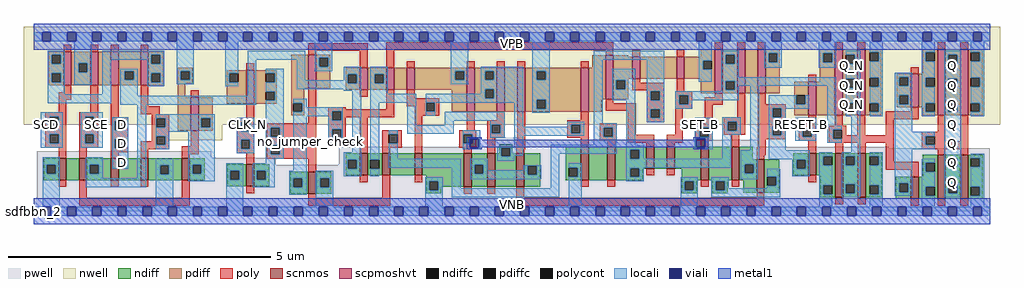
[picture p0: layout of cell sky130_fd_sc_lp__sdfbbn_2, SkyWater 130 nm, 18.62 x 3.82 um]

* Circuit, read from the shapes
.subckt sky130_fd_sc_lp__sdfbbn_2 CLK_N D RESET_B SCD SCE SET_B VGND VNB VPB VPWR Q Q_N
XM1 n1 SCD VGND VNB sky130_fd_pr__nfet_01v8 w=0.42 l=0.15
XM2 n2 SCE n1 VNB sky130_fd_pr__nfet_01v8 w=0.42 l=0.15
XM3 n3 D n2 VNB sky130_fd_pr__nfet_01v8 w=0.42 l=0.15
XM4 VGND n4 n3 VNB sky130_fd_pr__nfet_01v8 w=0.42 l=0.15
XM5 n4 SCE VGND VNB sky130_fd_pr__nfet_01v8 w=0.42 l=0.15
XM6 n5 CLK_N VGND VNB sky130_fd_pr__nfet_01v8 w=0.42 l=0.15
XM7 VGND n5 n6 VNB sky130_fd_pr__nfet_01v8 w=0.42 l=0.15
XM8 n7 n6 n2 VNB sky130_fd_pr__nfet_01v8 w=0.42 l=0.15
XM9 n8 n5 n7 VNB sky130_fd_pr__nfet_01v8 w=0.42 l=0.15
XM10 VGND n9 n8 VNB sky130_fd_pr__nfet_01v8 w=0.42 l=0.15
XM11 n10 SET_B VGND VNB sky130_fd_pr__nfet_01v8 w=0.64 l=0.15
XM12 n9 n7 n10 VNB sky130_fd_pr__nfet_01v8 w=0.64 l=0.15
XM13 n10 n11 n9 VNB sky130_fd_pr__nfet_01v8 w=0.64 l=0.15
XM14 n12 n9 VGND VNB sky130_fd_pr__nfet_01v8 w=0.64 l=0.15
XM15 n13 n5 n12 VNB sky130_fd_pr__nfet_01v8 w=0.64 l=0.15
XM16 n14 n6 n13 VNB sky130_fd_pr__nfet_01v8 w=0.42 l=0.15
XM17 VGND n15 n14 VNB sky130_fd_pr__nfet_01v8 w=0.42 l=0.15
XM18 n16 SET_B VGND VNB sky130_fd_pr__nfet_01v8 w=0.64 l=0.15
XM19 n15 n13 n16 VNB sky130_fd_pr__nfet_01v8 w=0.64 l=0.15
XM20 n16 n11 n15 VNB sky130_fd_pr__nfet_01v8 w=0.64 l=0.15
XM21 VGND RESET_B n11 VNB sky130_fd_pr__nfet_01v8 w=0.42 l=0.15
XM22 Q_N n15 VGND VNB sky130_fd_pr__nfet_01v8 w=0.84 l=0.15 m=2
XM23 VGND n15 n17 VNB sky130_fd_pr__nfet_01v8 w=0.42 l=0.15
XM24 Q n17 VGND VNB sky130_fd_pr__nfet_01v8 w=0.84 l=0.15 m=2
XM25 VPWR SCD n18 VPB sky130_fd_pr__pfet_01v8_hvt w=0.64 l=0.15
XM26 n19 SCE VPWR VPB sky130_fd_pr__pfet_01v8_hvt w=0.64 l=0.15
XM27 n2 D n19 VPB sky130_fd_pr__pfet_01v8_hvt w=0.64 l=0.15
XM28 n18 n4 n2 VPB sky130_fd_pr__pfet_01v8_hvt w=0.64 l=0.15
XM29 n4 SCE VPWR VPB sky130_fd_pr__pfet_01v8_hvt w=0.64 l=0.15
XM30 n5 CLK_N VPWR VPB sky130_fd_pr__pfet_01v8_hvt w=0.64 l=0.15
XM31 VPWR n5 n6 VPB sky130_fd_pr__pfet_01v8_hvt w=0.64 l=0.15
XM32 n7 n5 n2 VPB sky130_fd_pr__pfet_01v8_hvt w=0.42 l=0.15
XM33 n20 n6 n7 VPB sky130_fd_pr__pfet_01v8_hvt w=0.42 l=0.15
XM34 VPWR n9 n20 VPB sky130_fd_pr__pfet_01v8_hvt w=0.42 l=0.15
XM35 n9 SET_B VPWR VPB sky130_fd_pr__pfet_01v8_hvt w=0.84 l=0.15
XM36 n21 n7 n9 VPB sky130_fd_pr__pfet_01v8_hvt w=0.84 l=0.15
XM37 VPWR n11 n21 VPB sky130_fd_pr__pfet_01v8_hvt w=0.84 l=0.15
XM38 n22 n9 VPWR VPB sky130_fd_pr__pfet_01v8_hvt w=0.84 l=0.15
XM39 n13 n6 n22 VPB sky130_fd_pr__pfet_01v8_hvt w=0.84 l=0.15
XM40 n23 n5 n13 VPB sky130_fd_pr__pfet_01v8_hvt w=0.42 l=0.15
XM41 VPWR n15 n23 VPB sky130_fd_pr__pfet_01v8_hvt w=0.42 l=0.15
XM42 n15 SET_B VPWR VPB sky130_fd_pr__pfet_01v8_hvt w=0.84 l=0.15
XM43 n24 n13 n15 VPB sky130_fd_pr__pfet_01v8_hvt w=0.84 l=0.15
XM44 VPWR n11 n24 VPB sky130_fd_pr__pfet_01v8_hvt w=0.84 l=0.15
XM45 VPWR RESET_B n11 VPB sky130_fd_pr__pfet_01v8_hvt w=0.64 l=0.15
XM46 Q_N n15 VPWR VPB sky130_fd_pr__pfet_01v8_hvt w=1.26 l=0.15 m=2
XM47 VPWR n15 n17 VPB sky130_fd_pr__pfet_01v8_hvt w=0.64 l=0.15
XM48 Q n17 VPWR VPB sky130_fd_pr__pfet_01v8_hvt w=1.26 l=0.15 m=2
.ends

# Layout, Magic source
magic
tech sky130A
magscale 1 2
<< nwell >>
rect -38 331 3686 704
rect 512 271 718 331
<< pwell >>
rect 1749 273 1851 281
rect 1749 247 2768 273
rect 1163 241 3261 247
rect 11 205 677 229
rect 11 177 923 205
rect 1163 177 3647 241
rect 11 49 3647 177
rect 0 0 3648 49
<< scnmos >>
rect 94 119 124 203
rect 172 119 202 203
rect 293 119 323 203
rect 407 119 437 203
rect 564 119 594 203
rect 810 95 840 179
rect 1047 67 1077 151
rect 1243 137 1273 221
rect 1329 137 1359 221
rect 1452 137 1482 221
rect 1640 93 1670 221
rect 1730 93 1760 221
rect 1840 93 1870 221
rect 2086 119 2116 247
rect 2188 119 2218 247
rect 2337 163 2367 247
rect 2415 163 2445 247
rect 2544 119 2574 247
rect 2662 119 2692 247
rect 2757 71 2787 199
rect 2955 137 2985 221
rect 3057 53 3087 221
rect 3143 53 3173 221
rect 3346 47 3376 131
rect 3448 47 3478 215
rect 3534 47 3564 215
<< scpmoshvt >>
rect 113 481 143 609
rect 215 481 245 609
rect 293 481 323 609
rect 407 481 437 609
rect 598 307 628 435
rect 810 411 840 539
rect 1047 469 1077 597
rect 1243 463 1273 547
rect 1345 463 1375 547
rect 1423 463 1453 547
rect 1652 379 1682 547
rect 1766 379 1796 547
rect 1844 379 1874 547
rect 2086 379 2116 547
rect 2181 428 2211 596
rect 2283 506 2313 590
rect 2452 506 2482 590
rect 2598 451 2628 619
rect 2684 451 2714 619
rect 2762 451 2792 619
rect 2954 367 2984 495
rect 3056 367 3086 619
rect 3142 367 3172 619
rect 3346 396 3376 524
rect 3448 367 3478 619
rect 3534 367 3564 619
<< ndiff >>
rect 37 178 94 203
rect 37 144 49 178
rect 83 144 94 178
rect 37 119 94 144
rect 124 119 172 203
rect 202 178 293 203
rect 202 144 213 178
rect 247 144 293 178
rect 202 119 293 144
rect 323 119 407 203
rect 437 175 564 203
rect 437 141 481 175
rect 515 141 564 175
rect 437 119 564 141
rect 594 178 651 203
rect 1775 243 1825 255
rect 1775 221 1783 243
rect 594 144 605 178
rect 639 144 651 178
rect 594 119 651 144
rect 737 154 810 179
rect 737 120 749 154
rect 783 120 810 154
rect 737 95 810 120
rect 840 154 897 179
rect 840 120 851 154
rect 885 120 897 154
rect 1189 196 1243 221
rect 1189 162 1198 196
rect 1232 162 1243 196
rect 840 95 897 120
rect 978 126 1047 151
rect 978 92 990 126
rect 1024 92 1047 126
rect 978 67 1047 92
rect 1077 126 1135 151
rect 1189 137 1243 162
rect 1273 196 1329 221
rect 1273 162 1284 196
rect 1318 162 1329 196
rect 1273 137 1329 162
rect 1359 137 1452 221
rect 1482 137 1640 221
rect 1077 92 1092 126
rect 1126 92 1135 126
rect 1077 67 1135 92
rect 1497 114 1640 137
rect 1497 80 1509 114
rect 1543 93 1640 114
rect 1670 178 1730 221
rect 1670 144 1681 178
rect 1715 144 1730 178
rect 1670 93 1730 144
rect 1760 209 1783 221
rect 1817 221 1825 243
rect 1817 209 1840 221
rect 1760 93 1840 209
rect 1870 174 1931 221
rect 1870 140 1885 174
rect 1919 140 1931 174
rect 1870 93 1931 140
rect 2029 166 2086 247
rect 2029 132 2041 166
rect 2075 132 2086 166
rect 2029 119 2086 132
rect 2116 119 2188 247
rect 2218 235 2337 247
rect 2218 201 2276 235
rect 2310 201 2337 235
rect 2218 165 2337 201
rect 2218 131 2276 165
rect 2310 163 2337 165
rect 2367 163 2415 247
rect 2445 163 2544 247
rect 2310 131 2322 163
rect 2218 119 2322 131
rect 2471 119 2544 163
rect 2574 119 2662 247
rect 2692 199 2742 247
rect 2692 180 2757 199
rect 2692 146 2712 180
rect 2746 146 2757 180
rect 2692 119 2757 146
rect 2471 114 2529 119
rect 1543 80 1555 93
rect 1497 68 1555 80
rect 2471 80 2483 114
rect 2517 80 2529 114
rect 2589 114 2647 119
rect 2471 68 2529 80
rect 2589 80 2601 114
rect 2635 80 2647 114
rect 2589 68 2647 80
rect 2707 71 2757 119
rect 2787 132 2844 199
rect 2898 196 2955 221
rect 2898 162 2910 196
rect 2944 162 2955 196
rect 2898 137 2955 162
rect 2985 209 3057 221
rect 2985 175 3012 209
rect 3046 175 3057 209
rect 2985 137 3057 175
rect 2787 98 2798 132
rect 2832 98 2844 132
rect 2787 71 2844 98
rect 3000 99 3057 137
rect 3000 65 3012 99
rect 3046 65 3057 99
rect 3000 53 3057 65
rect 3087 209 3143 221
rect 3087 175 3098 209
rect 3132 175 3143 209
rect 3087 103 3143 175
rect 3087 69 3098 103
rect 3132 69 3143 103
rect 3087 53 3143 69
rect 3173 209 3235 221
rect 3173 175 3189 209
rect 3223 175 3235 209
rect 3173 99 3235 175
rect 3391 185 3448 215
rect 3391 151 3403 185
rect 3437 151 3448 185
rect 3391 131 3448 151
rect 3173 65 3189 99
rect 3223 65 3235 99
rect 3173 53 3235 65
rect 3289 106 3346 131
rect 3289 72 3301 106
rect 3335 72 3346 106
rect 3289 47 3346 72
rect 3376 93 3448 131
rect 3376 59 3403 93
rect 3437 59 3448 93
rect 3376 47 3448 59
rect 3478 203 3534 215
rect 3478 169 3489 203
rect 3523 169 3534 203
rect 3478 103 3534 169
rect 3478 69 3489 103
rect 3523 69 3534 103
rect 3478 47 3534 69
rect 3564 203 3621 215
rect 3564 169 3575 203
rect 3609 169 3621 203
rect 3564 93 3621 169
rect 3564 59 3575 93
rect 3609 59 3621 93
rect 3564 47 3621 59
<< pdiff >>
rect 56 597 113 609
rect 56 563 68 597
rect 102 563 113 597
rect 56 527 113 563
rect 56 493 68 527
rect 102 493 113 527
rect 56 481 113 493
rect 143 565 215 609
rect 143 531 170 565
rect 204 531 215 565
rect 143 481 215 531
rect 245 481 293 609
rect 323 535 407 609
rect 323 501 346 535
rect 380 501 407 535
rect 323 481 407 501
rect 437 597 494 609
rect 437 563 448 597
rect 482 563 494 597
rect 437 527 494 563
rect 437 493 448 527
rect 482 493 494 527
rect 437 481 494 493
rect 548 535 606 547
rect 548 501 560 535
rect 594 501 606 535
rect 548 489 606 501
rect 736 527 810 539
rect 736 493 745 527
rect 779 493 810 527
rect 548 435 578 489
rect 548 307 598 435
rect 628 354 682 435
rect 736 411 810 493
rect 840 527 927 539
rect 840 493 885 527
rect 919 493 927 527
rect 840 457 927 493
rect 840 423 885 457
rect 919 423 927 457
rect 840 411 927 423
rect 981 469 1047 597
rect 1077 585 1131 597
rect 1077 551 1088 585
rect 1122 551 1131 585
rect 1077 469 1131 551
rect 2131 547 2181 596
rect 1189 522 1243 547
rect 1189 488 1198 522
rect 1232 488 1243 522
rect 981 413 1032 469
rect 981 379 990 413
rect 1024 379 1032 413
rect 981 367 1032 379
rect 628 320 639 354
rect 673 320 682 354
rect 628 307 682 320
rect 1189 463 1243 488
rect 1273 522 1345 547
rect 1273 488 1300 522
rect 1334 488 1345 522
rect 1273 463 1345 488
rect 1375 463 1423 547
rect 1453 535 1652 547
rect 1453 501 1607 535
rect 1641 501 1652 535
rect 1453 463 1652 501
rect 1595 379 1652 463
rect 1682 535 1766 547
rect 1682 501 1721 535
rect 1755 501 1766 535
rect 1682 465 1766 501
rect 1682 431 1721 465
rect 1755 431 1766 465
rect 1682 379 1766 431
rect 1796 379 1844 547
rect 1874 535 2086 547
rect 1874 501 1918 535
rect 1952 501 2086 535
rect 1874 425 2086 501
rect 1874 391 1918 425
rect 1952 391 2086 425
rect 1874 379 2086 391
rect 2116 428 2181 547
rect 2211 590 2268 596
rect 2544 590 2598 619
rect 2211 506 2283 590
rect 2313 506 2452 590
rect 2482 575 2598 590
rect 2482 541 2553 575
rect 2587 541 2598 575
rect 2482 506 2598 541
rect 2211 500 2268 506
rect 2211 466 2222 500
rect 2256 466 2268 500
rect 2211 428 2268 466
rect 2116 379 2166 428
rect 2544 451 2598 506
rect 2628 597 2684 619
rect 2628 563 2639 597
rect 2673 563 2684 597
rect 2628 497 2684 563
rect 2628 463 2639 497
rect 2673 463 2684 497
rect 2628 451 2684 463
rect 2714 451 2762 619
rect 2792 602 2846 619
rect 2792 568 2803 602
rect 2837 568 2846 602
rect 2792 451 2846 568
rect 2999 602 3056 619
rect 2999 568 3011 602
rect 3045 568 3056 602
rect 2999 495 3056 568
rect 2900 442 2954 495
rect 2900 408 2909 442
rect 2943 408 2954 442
rect 2900 367 2954 408
rect 2984 367 3056 495
rect 3086 597 3142 619
rect 3086 563 3097 597
rect 3131 563 3142 597
rect 3086 505 3142 563
rect 3086 471 3097 505
rect 3131 471 3142 505
rect 3086 413 3142 471
rect 3086 379 3097 413
rect 3131 379 3142 413
rect 3086 367 3142 379
rect 3172 607 3232 619
rect 3172 573 3189 607
rect 3223 573 3232 607
rect 3172 510 3232 573
rect 3391 607 3448 619
rect 3391 573 3403 607
rect 3437 573 3448 607
rect 3391 524 3448 573
rect 3172 476 3189 510
rect 3223 476 3232 510
rect 3172 413 3232 476
rect 3172 379 3189 413
rect 3223 379 3232 413
rect 3292 512 3346 524
rect 3292 478 3301 512
rect 3335 478 3346 512
rect 3292 442 3346 478
rect 3292 408 3301 442
rect 3335 408 3346 442
rect 3292 396 3346 408
rect 3376 510 3448 524
rect 3376 476 3403 510
rect 3437 476 3448 510
rect 3376 413 3448 476
rect 3376 396 3403 413
rect 3172 367 3232 379
rect 3391 379 3403 396
rect 3437 379 3448 413
rect 3391 367 3448 379
rect 3478 597 3534 619
rect 3478 563 3489 597
rect 3523 563 3534 597
rect 3478 505 3534 563
rect 3478 471 3489 505
rect 3523 471 3534 505
rect 3478 413 3534 471
rect 3478 379 3489 413
rect 3523 379 3534 413
rect 3478 367 3534 379
rect 3564 607 3621 619
rect 3564 573 3575 607
rect 3609 573 3621 607
rect 3564 510 3621 573
rect 3564 476 3575 510
rect 3609 476 3621 510
rect 3564 413 3621 476
rect 3564 379 3575 413
rect 3609 379 3621 413
rect 3564 367 3621 379
<< ndiffc >>
rect 49 144 83 178
rect 213 144 247 178
rect 481 141 515 175
rect 605 144 639 178
rect 749 120 783 154
rect 851 120 885 154
rect 1198 162 1232 196
rect 990 92 1024 126
rect 1284 162 1318 196
rect 1092 92 1126 126
rect 1509 80 1543 114
rect 1681 144 1715 178
rect 1783 209 1817 243
rect 1885 140 1919 174
rect 2041 132 2075 166
rect 2276 201 2310 235
rect 2276 131 2310 165
rect 2712 146 2746 180
rect 2483 80 2517 114
rect 2601 80 2635 114
rect 2910 162 2944 196
rect 3012 175 3046 209
rect 2798 98 2832 132
rect 3012 65 3046 99
rect 3098 175 3132 209
rect 3098 69 3132 103
rect 3189 175 3223 209
rect 3403 151 3437 185
rect 3189 65 3223 99
rect 3301 72 3335 106
rect 3403 59 3437 93
rect 3489 169 3523 203
rect 3489 69 3523 103
rect 3575 169 3609 203
rect 3575 59 3609 93
<< pdiffc >>
rect 68 563 102 597
rect 68 493 102 527
rect 170 531 204 565
rect 346 501 380 535
rect 448 563 482 597
rect 448 493 482 527
rect 560 501 594 535
rect 745 493 779 527
rect 885 493 919 527
rect 885 423 919 457
rect 1088 551 1122 585
rect 1198 488 1232 522
rect 990 379 1024 413
rect 639 320 673 354
rect 1300 488 1334 522
rect 1607 501 1641 535
rect 1721 501 1755 535
rect 1721 431 1755 465
rect 1918 501 1952 535
rect 1918 391 1952 425
rect 2553 541 2587 575
rect 2222 466 2256 500
rect 2639 563 2673 597
rect 2639 463 2673 497
rect 2803 568 2837 602
rect 3011 568 3045 602
rect 2909 408 2943 442
rect 3097 563 3131 597
rect 3097 471 3131 505
rect 3097 379 3131 413
rect 3189 573 3223 607
rect 3403 573 3437 607
rect 3189 476 3223 510
rect 3189 379 3223 413
rect 3301 478 3335 512
rect 3301 408 3335 442
rect 3403 476 3437 510
rect 3403 379 3437 413
rect 3489 563 3523 597
rect 3489 471 3523 505
rect 3489 379 3523 413
rect 3575 573 3609 607
rect 3575 476 3609 510
rect 3575 379 3609 413
<< poly >>
rect 113 609 143 635
rect 215 609 245 635
rect 293 609 323 635
rect 407 609 437 635
rect 1047 612 1273 642
rect 1047 597 1077 612
rect 810 539 840 565
rect 113 455 143 481
rect 94 425 143 455
rect 94 377 124 425
rect 215 377 245 481
rect 44 361 124 377
rect 44 327 60 361
rect 94 327 124 361
rect 44 293 124 327
rect 44 259 60 293
rect 94 259 124 293
rect 44 243 124 259
rect 94 203 124 243
rect 172 361 245 377
rect 172 327 195 361
rect 229 327 245 361
rect 172 293 245 327
rect 172 259 195 293
rect 229 259 245 293
rect 172 243 245 259
rect 293 359 323 481
rect 407 401 437 481
rect 598 435 628 461
rect 407 371 480 401
rect 293 343 359 359
rect 293 309 309 343
rect 343 309 359 343
rect 293 275 359 309
rect 172 203 202 243
rect 293 241 309 275
rect 343 241 359 275
rect 450 355 516 371
rect 450 321 466 355
rect 500 321 516 355
rect 450 287 516 321
rect 1243 547 1273 612
rect 1345 615 2211 645
rect 2598 619 2628 645
rect 2684 619 2714 645
rect 2762 619 2792 645
rect 3056 619 3086 645
rect 3142 619 3172 645
rect 3448 619 3478 645
rect 3534 619 3564 645
rect 1345 547 1375 615
rect 2181 596 2211 615
rect 1423 547 1453 573
rect 1652 547 1682 573
rect 1766 547 1796 573
rect 1844 547 1874 573
rect 2086 547 2116 573
rect 810 356 840 411
rect 774 340 840 356
rect 450 267 466 287
rect 293 225 359 241
rect 407 253 466 267
rect 500 253 516 287
rect 407 237 516 253
rect 598 248 628 307
rect 293 203 323 225
rect 407 203 437 237
rect 564 218 628 248
rect 774 306 790 340
rect 824 306 840 340
rect 1047 335 1077 469
rect 1243 437 1273 463
rect 774 272 840 306
rect 774 238 790 272
rect 824 238 840 272
rect 774 222 840 238
rect 564 203 594 218
rect 810 179 840 222
rect 888 319 1077 335
rect 888 285 904 319
rect 938 285 1077 319
rect 888 251 1077 285
rect 1123 389 1189 397
rect 1345 389 1375 463
rect 1423 431 1453 463
rect 1423 415 1546 431
rect 1423 401 1496 415
rect 1123 381 1375 389
rect 1123 347 1139 381
rect 1173 359 1375 381
rect 1452 381 1496 401
rect 1530 381 1546 415
rect 1452 365 1546 381
rect 2283 590 2313 616
rect 2452 590 2482 616
rect 2283 491 2313 506
rect 2283 461 2404 491
rect 2338 458 2404 461
rect 2452 458 2482 506
rect 2181 413 2211 428
rect 2338 424 2354 458
rect 2388 424 2404 458
rect 2181 383 2296 413
rect 1173 347 1189 359
rect 1123 313 1189 347
rect 1123 279 1139 313
rect 1173 279 1189 313
rect 1123 263 1189 279
rect 888 217 904 251
rect 938 217 1077 251
rect 1243 221 1273 359
rect 1329 293 1404 309
rect 1329 259 1354 293
rect 1388 259 1404 293
rect 1329 243 1404 259
rect 1329 221 1359 243
rect 1452 221 1482 365
rect 1652 309 1682 379
rect 1766 347 1796 379
rect 1730 331 1796 347
rect 1622 293 1688 309
rect 1622 259 1638 293
rect 1672 259 1688 293
rect 1622 243 1688 259
rect 1730 297 1746 331
rect 1780 297 1796 331
rect 1730 281 1796 297
rect 1640 221 1670 243
rect 1730 221 1760 281
rect 1844 266 1874 379
rect 2086 347 2116 379
rect 2034 331 2116 347
rect 2034 297 2050 331
rect 2084 297 2116 331
rect 2034 281 2116 297
rect 888 201 1077 217
rect 94 93 124 119
rect 172 51 202 119
rect 293 93 323 119
rect 407 93 437 119
rect 564 51 594 119
rect 1047 151 1077 201
rect 810 69 840 95
rect 1243 111 1273 137
rect 172 21 594 51
rect 1047 52 1077 67
rect 1329 52 1359 137
rect 1452 111 1482 137
rect 1840 236 1874 266
rect 2086 247 2116 281
rect 2158 319 2224 335
rect 2158 285 2174 319
rect 2208 285 2224 319
rect 2158 269 2224 285
rect 2266 292 2296 383
rect 2338 390 2404 424
rect 2338 356 2354 390
rect 2388 356 2404 390
rect 2338 340 2404 356
rect 2446 442 2512 458
rect 2954 495 2984 521
rect 2446 408 2462 442
rect 2496 408 2512 442
rect 2598 436 2628 451
rect 2446 392 2512 408
rect 2560 406 2628 436
rect 2446 292 2476 392
rect 2560 335 2590 406
rect 2684 358 2714 451
rect 2188 247 2218 269
rect 2266 262 2367 292
rect 2337 247 2367 262
rect 2415 262 2476 292
rect 2524 319 2590 335
rect 2524 285 2540 319
rect 2574 285 2590 319
rect 2632 342 2714 358
rect 2632 308 2648 342
rect 2682 308 2714 342
rect 2632 292 2714 308
rect 2762 409 2792 451
rect 2762 393 2868 409
rect 2762 359 2818 393
rect 2852 359 2868 393
rect 3346 524 3376 550
rect 3346 381 3376 396
rect 2762 325 2868 359
rect 2954 335 2984 367
rect 2524 269 2590 285
rect 2415 247 2445 262
rect 2544 247 2574 269
rect 2662 247 2692 292
rect 2762 291 2818 325
rect 2852 291 2868 325
rect 2762 275 2868 291
rect 2918 319 2984 335
rect 3056 327 3086 367
rect 2918 285 2934 319
rect 2968 299 2984 319
rect 3033 311 3099 327
rect 2968 285 2985 299
rect 1840 221 1870 236
rect 2337 137 2367 163
rect 2415 137 2445 163
rect 2762 244 2792 275
rect 2918 269 2985 285
rect 2757 214 2792 244
rect 2955 221 2985 269
rect 3033 277 3049 311
rect 3083 291 3099 311
rect 3142 291 3172 367
rect 3250 351 3376 381
rect 3250 291 3280 351
rect 3448 303 3478 367
rect 3083 277 3280 291
rect 3033 261 3280 277
rect 3057 221 3087 261
rect 3143 221 3173 261
rect 2757 199 2787 214
rect 2086 93 2116 119
rect 2188 93 2218 119
rect 1640 67 1670 93
rect 1730 67 1760 93
rect 1047 22 1359 52
rect 1840 51 1870 93
rect 2544 93 2574 119
rect 2662 93 2692 119
rect 2955 111 2985 137
rect 2757 51 2787 71
rect 3250 189 3280 261
rect 3387 287 3478 303
rect 3387 253 3403 287
rect 3437 267 3478 287
rect 3534 267 3564 367
rect 3437 253 3564 267
rect 3387 237 3564 253
rect 3448 215 3478 237
rect 3534 215 3564 237
rect 3250 159 3376 189
rect 3346 131 3376 159
rect 1840 21 2787 51
rect 3057 27 3087 53
rect 3143 27 3173 53
rect 3346 21 3376 47
rect 3448 21 3478 47
rect 3534 21 3564 47
<< polycont >>
rect 60 327 94 361
rect 60 259 94 293
rect 195 327 229 361
rect 195 259 229 293
rect 309 309 343 343
rect 309 241 343 275
rect 466 321 500 355
rect 466 253 500 287
rect 790 306 824 340
rect 790 238 824 272
rect 904 285 938 319
rect 1139 347 1173 381
rect 1496 381 1530 415
rect 2354 424 2388 458
rect 1139 279 1173 313
rect 904 217 938 251
rect 1354 259 1388 293
rect 1638 259 1672 293
rect 1746 297 1780 331
rect 2050 297 2084 331
rect 2174 285 2208 319
rect 2354 356 2388 390
rect 2462 408 2496 442
rect 2540 285 2574 319
rect 2648 308 2682 342
rect 2818 359 2852 393
rect 2818 291 2852 325
rect 2934 285 2968 319
rect 3049 277 3083 311
rect 3403 253 3437 287
<< locali >>
rect 0 649 31 683
rect 65 649 127 683
rect 161 649 223 683
rect 257 649 319 683
rect 353 649 415 683
rect 449 649 511 683
rect 545 649 607 683
rect 641 649 703 683
rect 737 649 799 683
rect 833 649 895 683
rect 929 649 991 683
rect 1025 649 1087 683
rect 1121 649 1183 683
rect 1217 649 1279 683
rect 1313 649 1375 683
rect 1409 649 1471 683
rect 1505 649 1567 683
rect 1601 649 1663 683
rect 1697 649 1759 683
rect 1793 649 1855 683
rect 1889 649 1951 683
rect 1985 649 2047 683
rect 2081 649 2143 683
rect 2177 649 2239 683
rect 2273 649 2335 683
rect 2369 649 2431 683
rect 2465 649 2527 683
rect 2561 649 2623 683
rect 2657 649 2719 683
rect 2753 649 2815 683
rect 2849 649 2911 683
rect 2945 649 3007 683
rect 3041 649 3103 683
rect 3137 649 3199 683
rect 3233 649 3295 683
rect 3329 649 3391 683
rect 3425 649 3487 683
rect 3521 649 3583 683
rect 3617 649 3648 683
rect 52 597 118 613
rect 52 563 68 597
rect 102 563 118 597
rect 52 527 118 563
rect 52 493 68 527
rect 102 493 118 527
rect 52 447 118 493
rect 154 565 220 649
rect 154 531 170 565
rect 204 531 220 565
rect 154 483 220 531
rect 260 597 498 613
rect 260 579 448 597
rect 260 447 294 579
rect 432 563 448 579
rect 482 563 498 597
rect 52 413 294 447
rect 330 535 396 543
rect 330 501 346 535
rect 380 501 396 535
rect 330 441 396 501
rect 432 527 498 563
rect 432 493 448 527
rect 482 493 498 527
rect 432 477 498 493
rect 544 535 610 649
rect 544 501 560 535
rect 594 501 610 535
rect 544 485 610 501
rect 729 527 779 649
rect 729 493 745 527
rect 729 477 779 493
rect 815 579 1036 613
rect 815 441 849 579
rect 330 407 849 441
rect 885 527 954 543
rect 919 493 954 527
rect 885 457 954 493
rect 1002 499 1036 579
rect 1072 585 1138 649
rect 1072 551 1088 585
rect 1122 551 1138 585
rect 1072 535 1138 551
rect 1182 522 1248 551
rect 1182 499 1198 522
rect 1002 488 1198 499
rect 1232 488 1248 522
rect 1002 465 1248 488
rect 1182 459 1248 465
rect 919 423 954 457
rect 25 361 110 377
rect 25 327 60 361
rect 94 327 110 361
rect 25 293 110 327
rect 25 259 60 293
rect 94 259 110 293
rect 25 243 110 259
rect 179 361 263 377
rect 179 327 195 361
rect 229 327 263 361
rect 179 293 263 327
rect 179 259 195 293
rect 229 259 263 293
rect 179 243 263 259
rect 299 343 359 359
rect 299 309 309 343
rect 343 309 359 343
rect 299 275 359 309
rect 299 241 309 275
rect 343 241 359 275
rect 33 178 99 207
rect 33 144 49 178
rect 83 144 99 178
rect 33 17 99 144
rect 197 178 263 207
rect 197 144 213 178
rect 247 144 263 178
rect 299 162 359 241
rect 197 126 263 144
rect 395 126 429 407
rect 465 355 689 371
rect 465 321 466 355
rect 500 354 689 355
rect 500 321 639 354
rect 465 320 639 321
rect 673 320 689 354
rect 465 303 689 320
rect 465 287 516 303
rect 465 253 466 287
rect 500 253 516 287
rect 465 237 516 253
rect 197 92 429 126
rect 465 175 531 201
rect 465 141 481 175
rect 515 141 531 175
rect 465 17 531 141
rect 589 178 689 303
rect 774 340 840 356
rect 774 306 790 340
rect 824 306 840 340
rect 774 272 840 306
rect 774 238 790 272
rect 824 238 840 272
rect 774 222 840 238
rect 885 319 954 423
rect 885 285 904 319
rect 938 285 954 319
rect 885 251 954 285
rect 885 217 904 251
rect 938 217 954 251
rect 885 201 954 217
rect 990 413 1040 429
rect 1024 397 1040 413
rect 1024 381 1178 397
rect 1024 379 1139 381
rect 990 363 1139 379
rect 885 183 919 201
rect 589 144 605 178
rect 639 144 689 178
rect 589 115 689 144
rect 733 154 799 183
rect 733 120 749 154
rect 783 120 799 154
rect 733 17 799 120
rect 835 154 919 183
rect 990 155 1040 363
rect 1123 347 1139 363
rect 1173 347 1178 381
rect 1123 313 1178 347
rect 1123 279 1139 313
rect 1173 279 1178 313
rect 1123 263 1178 279
rect 1214 225 1248 459
rect 1182 196 1248 225
rect 1182 162 1198 196
rect 1232 162 1248 196
rect 835 120 851 154
rect 885 120 919 154
rect 835 91 919 120
rect 974 126 1040 155
rect 974 92 990 126
rect 1024 92 1040 126
rect 974 63 1040 92
rect 1076 126 1142 155
rect 1182 133 1248 162
rect 1284 522 1350 551
rect 1284 488 1300 522
rect 1334 488 1350 522
rect 1284 449 1350 488
rect 1591 535 1657 649
rect 1591 501 1607 535
rect 1641 501 1657 535
rect 1591 485 1657 501
rect 1705 535 1866 551
rect 1705 501 1721 535
rect 1755 501 1866 535
rect 1705 465 1866 501
rect 1705 449 1721 465
rect 1284 415 1459 449
rect 1284 196 1318 415
rect 1425 329 1459 415
rect 1495 431 1721 449
rect 1755 431 1866 465
rect 1495 415 1866 431
rect 1495 381 1496 415
rect 1530 381 1531 415
rect 1495 365 1531 381
rect 1567 345 1796 379
rect 1567 329 1601 345
rect 1354 293 1389 309
rect 1425 295 1601 329
rect 1741 331 1796 345
rect 1388 259 1389 293
rect 1354 200 1389 259
rect 1637 293 1703 309
rect 1637 259 1638 293
rect 1672 276 1703 293
rect 1741 297 1746 331
rect 1780 297 1796 331
rect 1741 281 1796 297
rect 1832 323 1866 415
rect 1902 535 1968 649
rect 1902 501 1918 535
rect 1952 501 1968 535
rect 1902 425 1968 501
rect 1902 391 1918 425
rect 1952 391 1968 425
rect 1902 375 1968 391
rect 2136 579 2404 613
rect 2034 331 2100 341
rect 2034 323 2050 331
rect 1832 297 2050 323
rect 2084 297 2100 331
rect 1832 289 2100 297
rect 2136 335 2170 579
rect 2206 500 2294 543
rect 2206 466 2222 500
rect 2256 466 2294 500
rect 2206 424 2294 466
rect 2136 319 2224 335
rect 1637 242 1663 259
rect 1697 242 1703 276
rect 1832 245 1866 289
rect 2136 285 2174 319
rect 2208 285 2224 319
rect 2136 253 2224 285
rect 1637 236 1703 242
rect 1767 243 1866 245
rect 1767 209 1783 243
rect 1817 211 1866 243
rect 1971 219 2224 253
rect 2260 251 2294 424
rect 2338 458 2404 579
rect 2537 575 2587 649
rect 2537 541 2553 575
rect 2537 494 2587 541
rect 2623 597 2689 613
rect 2623 563 2639 597
rect 2673 563 2689 597
rect 2623 512 2689 563
rect 2787 602 2853 649
rect 2787 568 2803 602
rect 2837 568 2853 602
rect 2787 548 2853 568
rect 2995 602 3061 649
rect 2995 568 3011 602
rect 3045 568 3061 602
rect 2995 548 3061 568
rect 3097 597 3153 613
rect 3131 563 3153 597
rect 2623 497 3061 512
rect 2623 463 2639 497
rect 2673 478 3061 497
rect 2673 463 2689 478
rect 2623 458 2689 463
rect 2338 424 2354 458
rect 2388 424 2404 458
rect 2338 390 2404 424
rect 2446 442 2689 458
rect 2446 408 2462 442
rect 2496 424 2689 442
rect 2496 408 2512 424
rect 2446 392 2512 408
rect 2338 356 2354 390
rect 2388 356 2404 390
rect 2338 340 2404 356
rect 2521 319 2590 356
rect 2521 285 2540 319
rect 2574 285 2590 319
rect 2521 276 2590 285
rect 2260 235 2326 251
rect 2521 242 2527 276
rect 2561 242 2590 276
rect 2521 236 2590 242
rect 2626 342 2697 358
rect 2626 308 2648 342
rect 2682 308 2697 342
rect 2626 292 2697 308
rect 1817 209 1833 211
rect 1354 166 1629 200
rect 1284 133 1318 162
rect 1076 92 1092 126
rect 1126 92 1142 126
rect 1076 17 1142 92
rect 1493 114 1559 130
rect 1493 80 1509 114
rect 1543 80 1559 114
rect 1493 17 1559 80
rect 1595 87 1629 166
rect 1665 178 1731 200
rect 1767 193 1833 209
rect 1665 144 1681 178
rect 1715 157 1731 178
rect 1869 174 1935 175
rect 1869 157 1885 174
rect 1715 144 1885 157
rect 1665 140 1885 144
rect 1919 140 1935 174
rect 1665 123 1935 140
rect 1971 87 2005 219
rect 2260 201 2276 235
rect 2310 201 2326 235
rect 2260 200 2326 201
rect 2626 200 2660 292
rect 2733 233 2767 478
rect 1595 53 2005 87
rect 2041 166 2091 183
rect 2075 132 2091 166
rect 2041 17 2091 132
rect 2260 166 2660 200
rect 2696 199 2767 233
rect 2803 408 2909 442
rect 2943 408 2959 442
rect 2803 393 2959 408
rect 2803 359 2818 393
rect 2852 392 2959 393
rect 2852 359 2868 392
rect 2803 325 2868 359
rect 2803 291 2818 325
rect 2852 291 2868 325
rect 2803 233 2868 291
rect 2905 319 2984 356
rect 2905 285 2934 319
rect 2968 285 2984 319
rect 2905 269 2984 285
rect 3027 327 3061 478
rect 3097 505 3153 563
rect 3131 471 3153 505
rect 3097 413 3153 471
rect 3131 379 3153 413
rect 3097 363 3153 379
rect 3189 607 3239 649
rect 3223 573 3239 607
rect 3189 510 3239 573
rect 3387 607 3437 649
rect 3387 573 3403 607
rect 3223 476 3239 510
rect 3189 413 3239 476
rect 3223 379 3239 413
rect 3189 363 3239 379
rect 3285 512 3351 528
rect 3285 478 3301 512
rect 3335 478 3351 512
rect 3285 442 3351 478
rect 3285 408 3301 442
rect 3335 408 3351 442
rect 3027 311 3083 327
rect 3027 277 3049 311
rect 3027 261 3083 277
rect 2803 199 2960 233
rect 3119 225 3153 363
rect 3285 303 3351 408
rect 3387 510 3437 573
rect 3387 476 3403 510
rect 3387 413 3437 476
rect 3387 379 3403 413
rect 3387 363 3437 379
rect 3473 597 3539 613
rect 3473 563 3489 597
rect 3523 563 3539 597
rect 3473 505 3539 563
rect 3473 471 3489 505
rect 3523 471 3539 505
rect 3473 413 3539 471
rect 3473 379 3489 413
rect 3523 379 3539 413
rect 3285 287 3437 303
rect 3285 253 3403 287
rect 3285 237 3437 253
rect 2696 180 2762 199
rect 2260 165 2326 166
rect 2260 131 2276 165
rect 2310 131 2326 165
rect 2260 115 2326 131
rect 2696 146 2712 180
rect 2746 146 2762 180
rect 2894 196 2960 199
rect 2467 114 2533 130
rect 2467 80 2483 114
rect 2517 80 2533 114
rect 2467 17 2533 80
rect 2585 114 2651 130
rect 2696 123 2762 146
rect 2798 132 2848 163
rect 2894 162 2910 196
rect 2944 162 2960 196
rect 2894 133 2960 162
rect 2996 209 3046 225
rect 2996 175 3012 209
rect 2585 80 2601 114
rect 2635 87 2651 114
rect 2832 98 2848 132
rect 2798 87 2848 98
rect 2635 80 2848 87
rect 2585 53 2848 80
rect 2996 99 3046 175
rect 2996 65 3012 99
rect 2996 17 3046 65
rect 3082 209 3153 225
rect 3082 175 3098 209
rect 3132 175 3153 209
rect 3082 103 3153 175
rect 3082 69 3098 103
rect 3132 69 3153 103
rect 3082 53 3153 69
rect 3189 209 3239 225
rect 3223 175 3239 209
rect 3189 99 3239 175
rect 3223 65 3239 99
rect 3189 17 3239 65
rect 3285 106 3351 237
rect 3473 203 3539 379
rect 3575 607 3625 649
rect 3609 573 3625 607
rect 3575 510 3625 573
rect 3609 476 3625 510
rect 3575 413 3625 476
rect 3609 379 3625 413
rect 3575 363 3625 379
rect 3285 72 3301 106
rect 3335 72 3351 106
rect 3285 59 3351 72
rect 3387 185 3437 201
rect 3387 151 3403 185
rect 3387 93 3437 151
rect 3387 59 3403 93
rect 3387 17 3437 59
rect 3473 169 3489 203
rect 3523 169 3539 203
rect 3473 103 3539 169
rect 3473 69 3489 103
rect 3523 69 3539 103
rect 3473 53 3539 69
rect 3575 203 3625 219
rect 3609 169 3625 203
rect 3575 93 3625 169
rect 3609 59 3625 93
rect 3575 17 3625 59
rect 0 -17 31 17
rect 65 -17 127 17
rect 161 -17 223 17
rect 257 -17 319 17
rect 353 -17 415 17
rect 449 -17 511 17
rect 545 -17 607 17
rect 641 -17 703 17
rect 737 -17 799 17
rect 833 -17 895 17
rect 929 -17 991 17
rect 1025 -17 1087 17
rect 1121 -17 1183 17
rect 1217 -17 1279 17
rect 1313 -17 1375 17
rect 1409 -17 1471 17
rect 1505 -17 1567 17
rect 1601 -17 1663 17
rect 1697 -17 1759 17
rect 1793 -17 1855 17
rect 1889 -17 1951 17
rect 1985 -17 2047 17
rect 2081 -17 2143 17
rect 2177 -17 2239 17
rect 2273 -17 2335 17
rect 2369 -17 2431 17
rect 2465 -17 2527 17
rect 2561 -17 2623 17
rect 2657 -17 2719 17
rect 2753 -17 2815 17
rect 2849 -17 2911 17
rect 2945 -17 3007 17
rect 3041 -17 3103 17
rect 3137 -17 3199 17
rect 3233 -17 3295 17
rect 3329 -17 3391 17
rect 3425 -17 3487 17
rect 3521 -17 3583 17
rect 3617 -17 3648 17
<< viali >>
rect 31 649 65 683
rect 127 649 161 683
rect 223 649 257 683
rect 319 649 353 683
rect 415 649 449 683
rect 511 649 545 683
rect 607 649 641 683
rect 703 649 737 683
rect 799 649 833 683
rect 895 649 929 683
rect 991 649 1025 683
rect 1087 649 1121 683
rect 1183 649 1217 683
rect 1279 649 1313 683
rect 1375 649 1409 683
rect 1471 649 1505 683
rect 1567 649 1601 683
rect 1663 649 1697 683
rect 1759 649 1793 683
rect 1855 649 1889 683
rect 1951 649 1985 683
rect 2047 649 2081 683
rect 2143 649 2177 683
rect 2239 649 2273 683
rect 2335 649 2369 683
rect 2431 649 2465 683
rect 2527 649 2561 683
rect 2623 649 2657 683
rect 2719 649 2753 683
rect 2815 649 2849 683
rect 2911 649 2945 683
rect 3007 649 3041 683
rect 3103 649 3137 683
rect 3199 649 3233 683
rect 3295 649 3329 683
rect 3391 649 3425 683
rect 3487 649 3521 683
rect 3583 649 3617 683
rect 1663 259 1672 276
rect 1672 259 1697 276
rect 1663 242 1697 259
rect 2527 242 2561 276
rect 31 -17 65 17
rect 127 -17 161 17
rect 223 -17 257 17
rect 319 -17 353 17
rect 415 -17 449 17
rect 511 -17 545 17
rect 607 -17 641 17
rect 703 -17 737 17
rect 799 -17 833 17
rect 895 -17 929 17
rect 991 -17 1025 17
rect 1087 -17 1121 17
rect 1183 -17 1217 17
rect 1279 -17 1313 17
rect 1375 -17 1409 17
rect 1471 -17 1505 17
rect 1567 -17 1601 17
rect 1663 -17 1697 17
rect 1759 -17 1793 17
rect 1855 -17 1889 17
rect 1951 -17 1985 17
rect 2047 -17 2081 17
rect 2143 -17 2177 17
rect 2239 -17 2273 17
rect 2335 -17 2369 17
rect 2431 -17 2465 17
rect 2527 -17 2561 17
rect 2623 -17 2657 17
rect 2719 -17 2753 17
rect 2815 -17 2849 17
rect 2911 -17 2945 17
rect 3007 -17 3041 17
rect 3103 -17 3137 17
rect 3199 -17 3233 17
rect 3295 -17 3329 17
rect 3391 -17 3425 17
rect 3487 -17 3521 17
rect 3583 -17 3617 17
<< metal1 >>
rect 0 683 3648 715
rect 0 649 31 683
rect 65 649 127 683
rect 161 649 223 683
rect 257 649 319 683
rect 353 649 415 683
rect 449 649 511 683
rect 545 649 607 683
rect 641 649 703 683
rect 737 649 799 683
rect 833 649 895 683
rect 929 649 991 683
rect 1025 649 1087 683
rect 1121 649 1183 683
rect 1217 649 1279 683
rect 1313 649 1375 683
rect 1409 649 1471 683
rect 1505 649 1567 683
rect 1601 649 1663 683
rect 1697 649 1759 683
rect 1793 649 1855 683
rect 1889 649 1951 683
rect 1985 649 2047 683
rect 2081 649 2143 683
rect 2177 649 2239 683
rect 2273 649 2335 683
rect 2369 649 2431 683
rect 2465 649 2527 683
rect 2561 649 2623 683
rect 2657 649 2719 683
rect 2753 649 2815 683
rect 2849 649 2911 683
rect 2945 649 3007 683
rect 3041 649 3103 683
rect 3137 649 3199 683
rect 3233 649 3295 683
rect 3329 649 3391 683
rect 3425 649 3487 683
rect 3521 649 3583 683
rect 3617 649 3648 683
rect 0 617 3648 649
rect 1651 276 1709 282
rect 1651 242 1663 276
rect 1697 273 1709 276
rect 2515 276 2573 282
rect 2515 273 2527 276
rect 1697 245 2527 273
rect 1697 242 1709 245
rect 1651 236 1709 242
rect 2515 242 2527 245
rect 2561 242 2573 276
rect 2515 236 2573 242
rect 0 17 3648 49
rect 0 -17 31 17
rect 65 -17 127 17
rect 161 -17 223 17
rect 257 -17 319 17
rect 353 -17 415 17
rect 449 -17 511 17
rect 545 -17 607 17
rect 641 -17 703 17
rect 737 -17 799 17
rect 833 -17 895 17
rect 929 -17 991 17
rect 1025 -17 1087 17
rect 1121 -17 1183 17
rect 1217 -17 1279 17
rect 1313 -17 1375 17
rect 1409 -17 1471 17
rect 1505 -17 1567 17
rect 1601 -17 1663 17
rect 1697 -17 1759 17
rect 1793 -17 1855 17
rect 1889 -17 1951 17
rect 1985 -17 2047 17
rect 2081 -17 2143 17
rect 2177 -17 2239 17
rect 2273 -17 2335 17
rect 2369 -17 2431 17
rect 2465 -17 2527 17
rect 2561 -17 2623 17
rect 2657 -17 2719 17
rect 2753 -17 2815 17
rect 2849 -17 2911 17
rect 2945 -17 3007 17
rect 3041 -17 3103 17
rect 3137 -17 3199 17
rect 3233 -17 3295 17
rect 3329 -17 3391 17
rect 3425 -17 3487 17
rect 3521 -17 3583 17
rect 3617 -17 3648 17
rect 0 -49 3648 -17
<< labels >>
flabel pwell s 0 0 3648 49 0 FreeSans 200 0 0 0 VNB
port 8 nsew ground bidirectional
flabel nwell s 0 617 3648 666 0 FreeSans 200 0 0 0 VPB
port 9 nsew power bidirectional
rlabel comment s 0 0 0 0 4 sdfbbn_2
flabel comment s 1055 266 1055 266 0 FreeSans 200 90 0 0 no_jumper_check
flabel metal1 s 0 617 3648 666 0 FreeSans 340 0 0 0 VPWR
port 10 nsew power bidirectional
flabel metal1 s 0 0 3648 49 0 FreeSans 340 0 0 0 VGND
port 7 nsew ground bidirectional
flabel locali s 31 316 65 350 0 FreeSans 340 0 0 0 SCD
port 4 nsew signal input
flabel locali s 223 316 257 350 0 FreeSans 340 0 0 0 SCE
port 5 nsew signal input
flabel locali s 319 168 353 202 0 FreeSans 340 0 0 0 D
port 2 nsew signal input
flabel locali s 319 242 353 276 0 FreeSans 340 0 0 0 D
port 2 nsew signal input
flabel locali s 319 316 353 350 0 FreeSans 340 0 0 0 D
port 2 nsew signal input
flabel locali s 799 242 833 276 0 FreeSans 340 0 0 0 CLK_N
port 1 nsew clock input
flabel locali s 799 316 833 350 0 FreeSans 340 0 0 0 CLK_N
port 1 nsew clock input
flabel locali s 2911 316 2945 350 0 FreeSans 340 0 0 0 RESET_B
port 3 nsew signal input
flabel locali s 2527 316 2561 350 0 FreeSans 340 0 0 0 SET_B
port 6 nsew signal input
flabel locali s 3487 94 3521 128 0 FreeSans 340 0 0 0 Q
port 11 nsew signal output
flabel locali s 3487 168 3521 202 0 FreeSans 340 0 0 0 Q
port 11 nsew signal output
flabel locali s 3487 242 3521 276 0 FreeSans 340 0 0 0 Q
port 11 nsew signal output
flabel locali s 3487 316 3521 350 0 FreeSans 340 0 0 0 Q
port 11 nsew signal output
flabel locali s 3487 390 3521 424 0 FreeSans 340 0 0 0 Q
port 11 nsew signal output
flabel locali s 3487 464 3521 498 0 FreeSans 340 0 0 0 Q
port 11 nsew signal output
flabel locali s 3487 538 3521 572 0 FreeSans 340 0 0 0 Q
port 11 nsew signal output
flabel locali s 3103 390 3137 424 0 FreeSans 340 0 0 0 Q_N
port 12 nsew signal output
flabel locali s 3103 464 3137 498 0 FreeSans 340 0 0 0 Q_N
port 12 nsew signal output
flabel locali s 3103 538 3137 572 0 FreeSans 340 0 0 0 Q_N
port 12 nsew signal output
<< properties >>
string LEFsite unit
string LEFclass CORE
string FIXED_BBOX 0 0 3648 666
string GDS_FILE $PDKPATH/libs.ref/sky130_fd_sc_lp/gds/sky130_fd_sc_lp.gds
string LEFsymmetry X Y R90
string GDS_END 2967930
string GDS_START 2943182
<< end >>
